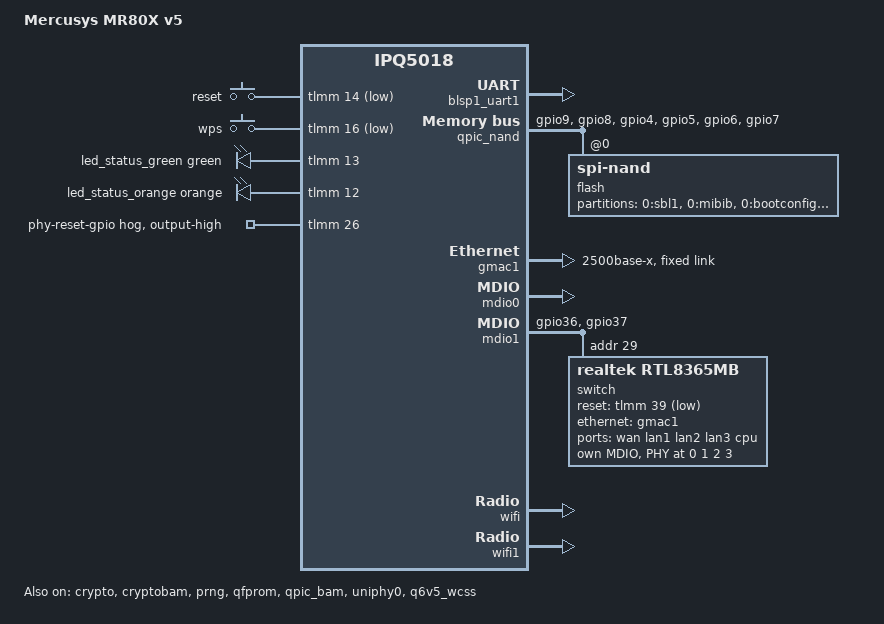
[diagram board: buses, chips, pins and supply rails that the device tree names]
// SPDX-License-Identifier: GPL-2.0-or-later OR MIT

/dts-v1/;

#include "ipq5018.dtsi"
#include "ipq5018-ess.dtsi"
#include "ipq5018-qcn6122.dtsi"

#include <dt-bindings/gpio/gpio.h>
#include <dt-bindings/input/input.h>
#include <dt-bindings/leds/common.h>

/ {
	model = "Mercusys MR80X v5";
	compatible = "mercusys,mr80x-v5", "qcom,ipq5018";

	aliases {
		serial0 = &blsp1_uart1;
		led-boot = &led_status_green;
		led-failsafe = &led_status_orange;
		led-running = &led_status_green;
		led-upgrade = &led_status_green;
		label-mac-device = &lan1_port;
	};

	chosen {
		bootargs-append = " root=/dev/ubiblock0_1 coherent_pool=2M";
		stdout-path = "serial0:115200n8";
	};

	keys {
		compatible = "gpio-keys";
		pinctrl-0 = <&button_pins>;
		pinctrl-names = "default";

		reset {
			label = "reset";
			gpios = <&tlmm 14 GPIO_ACTIVE_LOW>;
			linux,code = <KEY_RESTART>;
		};

		wps {
			label = "wps";
			gpios = <&tlmm 16 GPIO_ACTIVE_LOW>;
			linux,code = <KEY_WPS_BUTTON>;
		};
	};

	leds {
		compatible = "gpio-leds";
		pinctrl-0 = <&led_pins>;
		pinctrl-names = "default";

		led_status_green: status-green {
			gpios = <&tlmm 13 GPIO_ACTIVE_HIGH>;
			color = <LED_COLOR_ID_GREEN>;
			function = LED_FUNCTION_STATUS;
			default-state = "on";
		};

		led_status_orange: status-orange {
			gpios = <&tlmm 12 GPIO_ACTIVE_HIGH>;
			color = <LED_COLOR_ID_ORANGE>;
			function = LED_FUNCTION_STATUS;
		};
	};
};

&sleep_clk {
	clock-frequency = <32000>;
};

&xo_board_clk {
	clock-div = <4>;
	clock-mult = <1>;
};

&blsp1_uart1 {
	status = "okay";
};

&crypto {
	status = "okay";
};

&cryptobam {
	status = "okay";
};

&prng {
	status = "okay";
};

&qfprom {
	status = "okay";
};

&qpic_bam {
	status = "okay";
};

&qpic_nand {
	pinctrl-0 = <&qpic_pins>;
	pinctrl-names = "default";
	status = "okay";

	flash@0 {
		compatible = "spi-nand";
		reg = <0>;
		nand-ecc-engine = <&qpic_nand>;
		nand-ecc-strength = <4>;
		nand-ecc-step-size = <512>;
		nand-bus-width = <8>;

		partitions {
			compatible = "fixed-partitions";
			#address-cells = <1>;
			#size-cells = <1>;

			partition@0 {
				label = "0:sbl1";
				reg = <0x00000000 0x00080000>;
				read-only;
			};

			partition@80000 {
				label = "0:mibib";
				reg = <0x00080000 0x00080000>;
				read-only;
			};

			partition@100000 {
				label = "0:bootconfig";
				reg = <0x00100000 0x00040000>;
				read-only;
			};

			partition@140000 {
				label = "0:bootconfig1";
				reg = <0x00140000 0x00040000>;
				read-only;
			};

			partition@180000 {
				label = "0:qsee";
				reg = <0x00180000 0x00100000>;
				read-only;
			};

			partition@280000 {
				label = "0:devcfg";
				reg = <0x00280000 0x00040000>;
				read-only;
			};

			partition@2c0000 {
				label = "0:cdt";
				reg = <0x002c0000 0x00040000>;
				read-only;
			};

			partition@300000 {
				compatible = "u-boot,env";
				label = "0:appsblenv";
				reg = <0x00300000 0x00080000>;
				env-size = <0x40000>;
			};

			partition@380000 {
				label = "0:appsbl";
				reg = <0x00380000 0x00140000>;
				read-only;
			};

			partition_0_art: partition@4c0000 {
				label = "0:art";
				reg = <0x004c0000 0x00100000>;
				read-only;

				nvmem-layout {
					compatible = "fixed-layout";
					#address-cells = <1>;
					#size-cells = <1>;

					cal_art_1000: calibration@1000 {
						reg = <0x1000 0x20000>;
						#nvmem-cell-cells = <0>;
					};

					cal_art_26800: calibration@26800 {
						reg = <0x26800 0x20000>;
						#nvmem-cell-cells = <0>;
					};
				};
			};

			partition@5c0000 {
				label = "0:training";
				reg = <0x005c0000 0x00080000>;
				read-only;
			};

			partition@640000 {
				label = "rootfs";
				reg = <0x00640000 0x02a00000>;
			};

			partition@3040000 {
				label = "rootfs_1";
				reg = <0x03040000 0x02a00000>;
			};

			partition_tp_data: partition@5a40000 {
				label = "tp-data";
				reg = <0x05a40000 0x00840000>;
				read-only;

				nvmem-layout {
					compatible = "fixed-layout";
					#address-cells = <1>;
					#size-cells = <1>;

					macaddr_tp_data_2d5030: macaddr@2d5030 {
						compatible = "mac-base";
						reg = <0x2d5030 0x6>;
						#nvmem-cell-cells = <1>;
					};
				};
			};

			partition@6280000 {
				label = "radio";
				reg = <0x06280000 0x00440000>;
			};

			partition@66c0000 {
				label = "data";
				reg = <0x066c0000 0x00080000>;
			};
		};
	};
};

&uniphy0 {
	status = "okay";

	assigned-clocks = <&uniphy0 UNIPHY_CLK_REF>;
	assigned-clock-rates = <UNIPHY_REFCLK_50MHZ>;
};

&gmac1 {
	status = "okay";

	phy-mode = "2500base-x";
	nvmem-cell-names = "mac-address";
	nvmem-cells = <&macaddr_tp_data_2d5030 (-1)>;

	fixed-link {
		speed = <2500>;
		full-duplex;
		pause;
	};
};

&mdio0 {
	status = "okay";
};

&mdio1 {
	status = "okay";

	pinctrl-0 = <&mdio1_pins>;
	pinctrl-names = "default";

	switch@29 {
		compatible = "realtek,rtl8365mb";
		reg = <29>;
		reset-gpios = <&tlmm 39 GPIO_ACTIVE_LOW>;
		/* MR80X uses the RTL8367D 802.1Q CPU path for both native WAN
		 * traffic and VLAN upper compatibility. Keep these quirks local
		 * to this board; other rtl8365mb users retain the default path. */
		realtek,rtl8367d-8021q-tagging;
		realtek,rtl8367d-cpu-aware;
		realtek,rtl8367d-ingress-filter;
		realtek,rtl8367d-wan-port = <0>;
		realtek,rtl8367d-standalone-vlan-uppers;

		ports {
			#address-cells = <1>;
			#size-cells = <0>;

			port@0 {
				reg = <0>;
				label = "wan";
				phy-handle = <&rtl8367s_phy0>;
				nvmem-cell-names = "mac-address";
				nvmem-cells = <&macaddr_tp_data_2d5030 1>;
			};

			lan1_port: port@1 {
				reg = <1>;
				label = "lan1";
				phy-handle = <&rtl8367s_phy1>;
				nvmem-cell-names = "mac-address";
				nvmem-cells = <&macaddr_tp_data_2d5030 0>;
			};

			port@2 {
				reg = <2>;
				label = "lan2";
				phy-handle = <&rtl8367s_phy2>;
				nvmem-cell-names = "mac-address";
				nvmem-cells = <&macaddr_tp_data_2d5030 2>;
			};

			port@3 {
				reg = <3>;
				label = "lan3";
				phy-handle = <&rtl8367s_phy3>;
				nvmem-cell-names = "mac-address";
				nvmem-cells = <&macaddr_tp_data_2d5030 3>;
			};

			port@6 {
				reg = <6>;
				label = "cpu";
				ethernet = <&gmac1>;
				phy-mode = "2500base-x";
				qca,sgmii-enable-pll;

				fixed-link {
					speed = <2500>;
					full-duplex;
					pause;
				};
			};
		};

		mdio {
			compatible = "realtek,smi-mdio";
			#address-cells = <1>;
			#size-cells = <0>;

			rtl8367s_phy0: ethernet-phy@0 {
				reg = <0>;
			};

			rtl8367s_phy1: ethernet-phy@1 {
				reg = <1>;
			};

			rtl8367s_phy2: ethernet-phy@2 {
				reg = <2>;
			};

			rtl8367s_phy3: ethernet-phy@3 {
				reg = <3>;
			};
		};
	};
};

&tlmm {
	phy_reset_hog: phy-reset-hog {
		gpio-hog;
		gpios = <26 GPIO_ACTIVE_HIGH>;
		output-high;
		line-name = "phy-reset-gpio";
	};

	button_pins: button-state {
		pins = "gpio14", "gpio16";
		function = "gpio";
		drive-strength = <8>;
		bias-pull-up;
	};

	led_pins: led-state {
		pins = "gpio12", "gpio13";
		function = "gpio";
		drive-strength = <8>;
		bias-pull-down;
	};

	mdio1_pins: mdio-state {
		mdc-pins {
			pins = "gpio36";
			function = "mdc";
			drive-strength = <8>;
			bias-pull-up;
		};

		mdio-pins {
			pins = "gpio37";
			function = "mdio";
			drive-strength = <8>;
			bias-pull-up;
		};
	};

	qpic_pins: qpic-state {
		clock-pins {
			pins = "gpio9";
			function = "qspi_clk";
			drive-strength = <8>;
			bias-disable;
		};

		cs-pins {
			pins = "gpio8";
			function = "qspi_cs";
			drive-strength = <8>;
			bias-disable;
		};

		data-pins {
			pins = "gpio4", "gpio5", "gpio6", "gpio7";
			function = "qspi_data";
			drive-strength = <8>;
			bias-disable;
		};
	};
};

&q6_region {
	reg = <0x0 0x4b000000 0x0 0x2e00000>;
};

&q6v5_wcss {
	status = "okay";

	boot-args = <0x1 4 3 15 0 0 0x2 4 2 27 0 0>;
};

&wifi {
	status = "okay";

	qcom,rproc = <&q6_wcss_pd1>;
	qcom,userpd-subsys-name = "q6v5_wcss_userpd1";
	qcom,ath11k-calibration-variant = "Mercusys-MR80X-v5";
	qcom,ath11k-fw-memory-mode = <2>;
	qcom,ath11k-low-memory-datapath;
	qcom,ath11k-calibration-needs-macflag;
	qcom,bdf-addr = <0x4c400000>;
	nvmem-cell-names = "mac-address", "calibration";
	nvmem-cells = <&macaddr_tp_data_2d5030 4>, <&cal_art_1000>;
};

&wifi1 {
	status = "okay";

	qcom,rproc = <&q6_wcss_pd2>;
	qcom,userpd-subsys-name = "q6v5_wcss_userpd2";
	qcom,ath11k-calibration-variant = "Mercusys-MR80X-v5";
	qcom,ath11k-fw-memory-mode = <2>;
	qcom,ath11k-low-memory-datapath;
	qcom,ath11k-calibration-needs-macflag;
	qcom,bdf-addr = <0x4d100000>;
	nvmem-cell-names = "mac-address", "calibration";
	nvmem-cells = <&macaddr_tp_data_2d5030 5>, <&cal_art_26800>;
};
